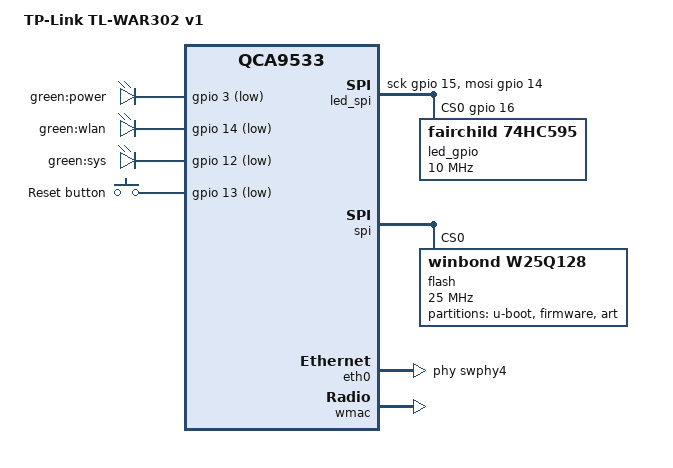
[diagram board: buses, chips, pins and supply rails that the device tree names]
#include "qca953x.dtsi"

#include <dt-bindings/gpio/gpio.h>
#include <dt-bindings/input/input.h>

/ {
	compatible = "tplink,tl-wr842n-v3", "qca,qca9533";
	model = "TP-Link TL-WAR302 v1";

	aliases {
		led-boot = &led_power;
		led-failsafe = &led_power;
		led-running = &led_power;
		led-upgrade = &led_power;
		label-mac-device = &eth1;
	};

	led_spi {
		compatible = "spi-gpio";
		#address-cells = <1>;
		#size-cells = <0>;

		sck-gpios = <&gpio 15 GPIO_ACTIVE_HIGH>;
		mosi-gpios = <&gpio 14 GPIO_ACTIVE_HIGH>;
		cs-gpios = <&gpio 16 GPIO_ACTIVE_HIGH>;
		num-chipselects = <1>;

		led_gpio: led_gpio@0 {
			compatible = "fairchild,74hc595";
			reg = <0>;
			gpio-controller;
			#gpio-cells = <2>;
			registers-number = <1>;
			spi-max-frequency = <10000000>;
		};
	};

	leds {
		compatible = "gpio-leds";

		led_power: power {
			label = "green:power";
			gpios = <&gpio 3 GPIO_ACTIVE_LOW>;
			default-state = "on";
		};

		wifi {
			label = "green:wlan";
			gpios = <&gpio 14 GPIO_ACTIVE_LOW>;
			linux,default-trigger = "phy0tpt";
		};

		led_sys: led_sys {
			label = "green:sys";
			gpios = <&gpio 12 GPIO_ACTIVE_LOW>;
			default-state = "on";
		};


	};

	keys {
		compatible = "gpio-keys";
		reset {
			label = "Reset button";
			linux,code = <KEY_RESTART>;
			gpios = <&gpio 13 GPIO_ACTIVE_LOW>;
			debounce-interval = <60>;
		};
	};
};

&spi {
	status = "okay";

	flash@0 {
		compatible = "winbond,w25q128", "jedec,spi-nor";
		reg = <0>;
		spi-max-frequency = <25000000>;

		partitions {
			compatible = "fixed-partitions";
			#address-cells = <1>;
			#size-cells = <1>;

			partition@0 {
				label = "u-boot";
				reg = <0x000000 0x020000>;
				read-only;
			};

			partition@20000 {
				compatible = "openwrt,uimage", "denx,uimage";
				label = "firmware";
				reg = <0x020000 0xfd0000>;
			};

			art: partition@ff0000 {
				label = "art";
				reg = <0xff0000 0x010000>;
				read-only;
			};
		};
	};
};

&eth0 {
	status = "okay";

	phy-handle = <&swphy4>;

	mtd-mac-address = <&art 0x0>;
};

&eth1 {
	mtd-mac-address = <&art 0x6>;

	gmac-config {
		device = <&gmac>;
		switch-phy-swap = <0>;
		switch-only-mode = <1>;
	};
};

&wmac {
	status = "okay";

	mtd-cal-data = <&art 0x1000>;
	mtd-mac-address = <&art 0x0>;
};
